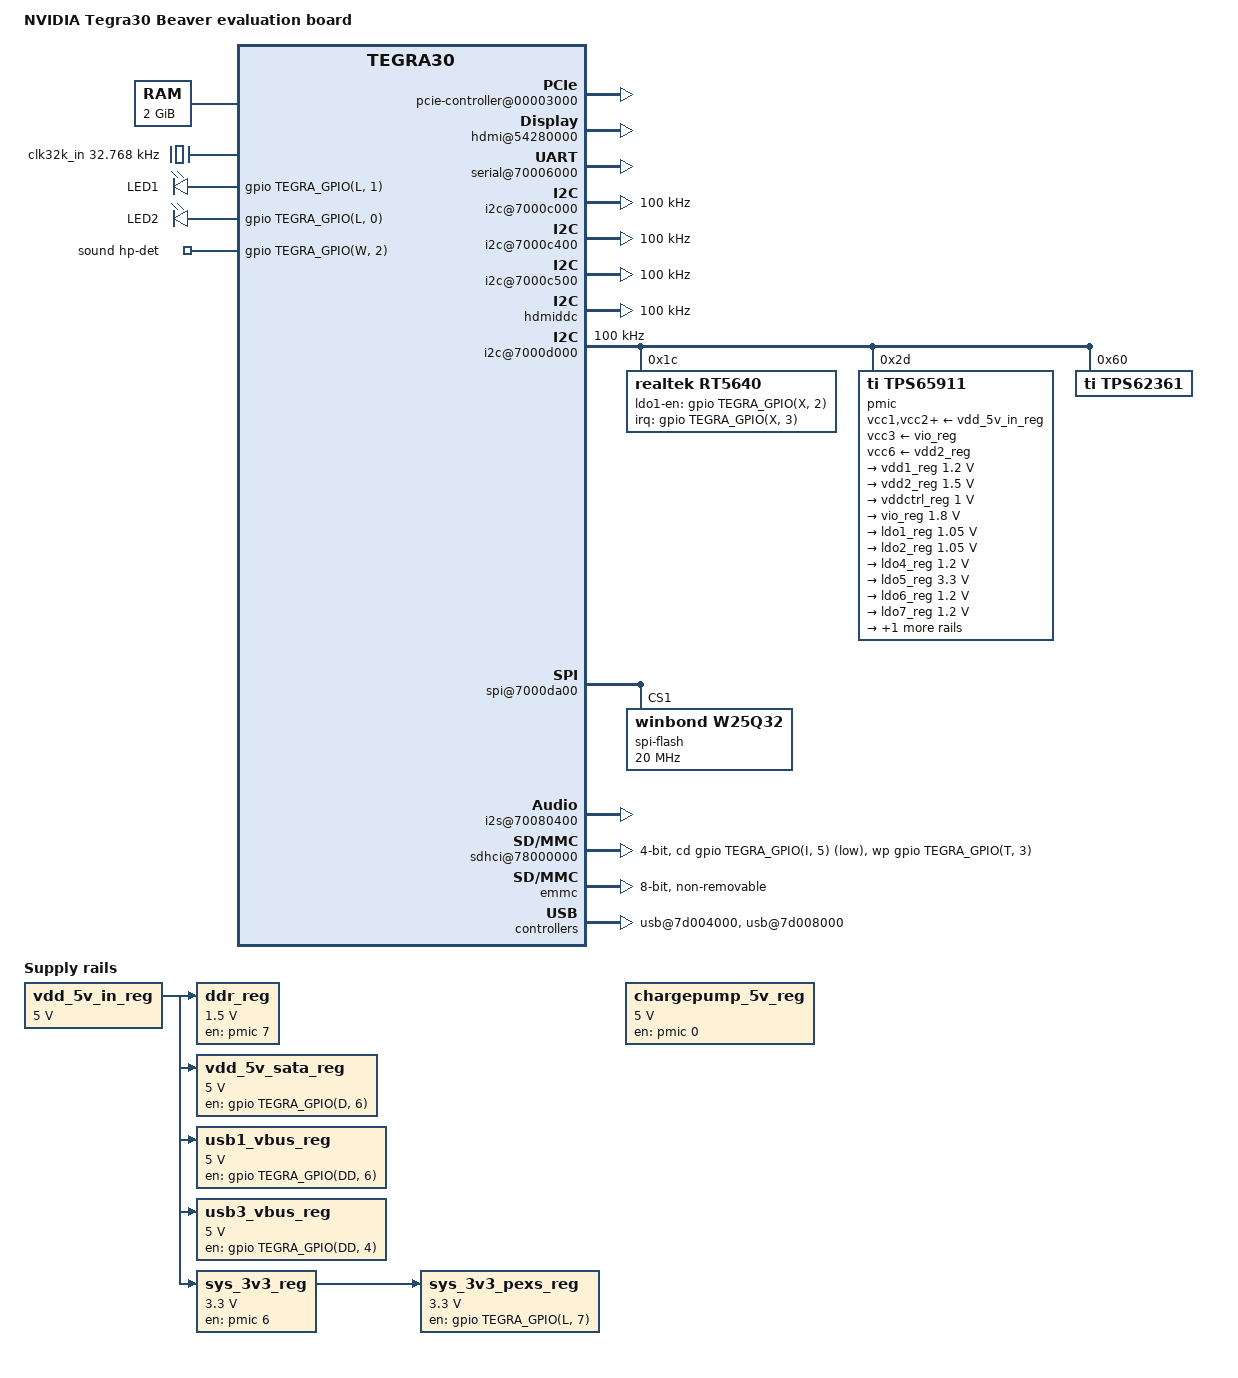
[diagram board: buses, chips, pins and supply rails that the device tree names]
/dts-v1/;

#include <arm/tegra30.dtsi>
#include "tegra30.dtsi"

/ {
	model = "NVIDIA Tegra30 Beaver evaluation board";
	compatible = "nvidia,beaver", "nvidia,tegra30";

	aliases {
		rtc0 = "/i2c@7000d000/tps65911@2d";
		rtc1 = "/rtc@7000e000";
		serial0 = &uarta;
	};

	chosen {
		stdout-path = &uarta;

		environment {
			compatible = "barebox,environment";
			device-path = &emmc, "partname:boot1";
		};
	};

	memory {
		reg = <0x80000000 0x7ff00000>;
	};

	pcie-controller@00003000 {
		status = "okay";
		pex-clk-supply = <&sys_3v3_pexs_reg>;
		vdd-supply = <&ldo1_reg>;
		avdd-supply = <&ldo2_reg>;

		pci@1,0 {
			status = "okay";
			nvidia,num-lanes = <2>;
		};

		pci@2,0 {
			nvidia,num-lanes = <2>;
		};

		pci@3,0 {
			status = "okay";
			nvidia,num-lanes = <2>;
		};
	};

	host1x@50000000 {
		hdmi@54280000 {
			status = "okay";

			vdd-supply = <&sys_3v3_reg>;
			pll-supply = <&vio_reg>;

			nvidia,hpd-gpio =
				<&gpio TEGRA_GPIO(N, 7) GPIO_ACTIVE_HIGH>;
			nvidia,ddc-i2c-bus = <&hdmiddc>;
		};
	};

	pinmux@70000868 {
		pinctrl-names = "default";
		pinctrl-0 = <&state_default>;

		state_default: pinmux {
			sdmmc1_clk_pz0 {
				nvidia,pins = "sdmmc1_clk_pz0";
				nvidia,function = "sdmmc1";
				nvidia,pull = <TEGRA_PIN_PULL_NONE>;
				nvidia,tristate = <TEGRA_PIN_DISABLE>;
			};
			sdmmc1_cmd_pz1 {
				nvidia,pins =	"sdmmc1_cmd_pz1",
						"sdmmc1_dat0_py7",
						"sdmmc1_dat1_py6",
						"sdmmc1_dat2_py5",
						"sdmmc1_dat3_py4";
				nvidia,function = "sdmmc1";
				nvidia,pull = <TEGRA_PIN_PULL_UP>;
				nvidia,tristate = <TEGRA_PIN_DISABLE>;
			};
			sdmmc3_clk_pa6 {
				nvidia,pins = "sdmmc3_clk_pa6";
				nvidia,function = "sdmmc3";
				nvidia,pull = <TEGRA_PIN_PULL_NONE>;
				nvidia,tristate = <TEGRA_PIN_DISABLE>;
			};
			sdmmc3_cmd_pa7 {
				nvidia,pins =	"sdmmc3_cmd_pa7",
						"sdmmc3_dat0_pb7",
						"sdmmc3_dat1_pb6",
						"sdmmc3_dat2_pb5",
						"sdmmc3_dat3_pb4";
				nvidia,function = "sdmmc3";
				nvidia,pull = <TEGRA_PIN_PULL_UP>;
				nvidia,tristate = <TEGRA_PIN_DISABLE>;
			};
			sdmmc3_gpio {
				nvidia,pins =	"sdmmc3_dat4_pd1",
						"sdmmc3_dat5_pd0";
				nvidia,pull = <TEGRA_PIN_PULL_UP>;
				nvidia,tristate = <TEGRA_PIN_DISABLE>;
			};
			sdmmc4_rst {
				nvidia,pins =	"sdmmc4_rst_n_pcc3";
				nvidia,function = "sdmmc4";
				nvidia,pull = <TEGRA_PIN_PULL_DOWN>;
				nvidia,tristate = <TEGRA_PIN_DISABLE>;
				nvidia,io-reset = <TEGRA_PIN_DISABLE>;
				nvidia,enable-input = <TEGRA_PIN_ENABLE>;
			};
			sdmmc4_clk_pcc4 {
				nvidia,pins =	"sdmmc4_clk_pcc4";
				nvidia,function = "sdmmc4";
				nvidia,pull = <TEGRA_PIN_PULL_NONE>;
				nvidia,tristate = <TEGRA_PIN_DISABLE>;
				nvidia,io-reset = <TEGRA_PIN_DISABLE>;
				nvidia,enable-input = <TEGRA_PIN_ENABLE>;
			};
			sdmmc4_dat0_paa0 {
				nvidia,pins =	"sdmmc4_cmd_pt7",
						"sdmmc4_dat0_paa0",
						"sdmmc4_dat1_paa1",
						"sdmmc4_dat2_paa2",
						"sdmmc4_dat3_paa3",
						"sdmmc4_dat4_paa4",
						"sdmmc4_dat5_paa5",
						"sdmmc4_dat6_paa6",
						"sdmmc4_dat7_paa7";
				nvidia,function = "sdmmc4";
				nvidia,pull = <TEGRA_PIN_PULL_UP>;
				nvidia,tristate = <TEGRA_PIN_DISABLE>;
				nvidia,io-reset = <TEGRA_PIN_DISABLE>;
				nvidia,enable-input = <TEGRA_PIN_ENABLE>;
			};
			crt {
				nvidia,pins =	"crt_hsync_pv6",
						"crt_vsync_pv7";
				nvidia,function = "crt";
				nvidia,tristate = <TEGRA_PIN_ENABLE>;
			};
			dap {
				nvidia,pins =	"clk1_req_pee2",
						"clk2_req_pcc5";
				nvidia,function = "dap";
				nvidia,tristate = <TEGRA_PIN_DISABLE>;
			};
			dev3 {
				nvidia,pins =	"clk3_req_pee1";
				nvidia,function = "dev3";
				nvidia,tristate = <TEGRA_PIN_DISABLE>;
			};
			dap1 {
				nvidia,pins =	"dap1_fs_pn0", "dap1_dout_pn2",
						"dap1_din_pn1", "dap1_sclk_pn3";
				nvidia,function = "i2s0";
				nvidia,pull = <TEGRA_PIN_PULL_NONE>;
				nvidia,tristate = <TEGRA_PIN_DISABLE>;
			};
			dap2_fs_pa2 {
				nvidia,pins =	"dap2_fs_pa2",
						"dap2_sclk_pa3",
						"dap2_din_pa4",
						"dap2_dout_pa5";
				nvidia,function = "i2s1";
				nvidia,pull = <TEGRA_PIN_PULL_NONE>;
				nvidia,tristate = <TEGRA_PIN_DISABLE>;
			};
			dap3 {
				nvidia,pins =	"dap3_fs_pp0", "dap3_dout_pp2",
						"dap3_din_pp1", "dap3_sclk_pp3";
				nvidia,function = "i2s2";
				nvidia,tristate = <TEGRA_PIN_DISABLE>;
			};
			dap4 {
				nvidia,pins =	"dap4_fs_pp4", "dap4_dout_pp6",
						"dap4_din_pp5", "dap4_sclk_pp7";
				nvidia,function = "i2s3";
				nvidia,tristate = <TEGRA_PIN_DISABLE>;
			};
			pex_in {
				nvidia,pins =	"pex_l0_prsnt_n_pdd0",
						"pex_l0_clkreq_n_pdd2",
						"pex_l2_prsnt_n_pdd7",
						"pex_l2_clkreq_n_pcc7",
						"pex_wake_n_pdd3";
				nvidia,function = "pcie";
				nvidia,tristate = <TEGRA_PIN_DISABLE>;
				nvidia,enable-input = <TEGRA_PIN_ENABLE>;
			};
			pex_out {
				nvidia,pins =	"pex_l0_rst_n_pdd1",
						"pex_l1_rst_n_pdd5",
						"pex_l2_rst_n_pcc6";
				nvidia,function = "pcie";
				nvidia,tristate = <TEGRA_PIN_DISABLE>;
			};
			pex_l1_prsnt_n_pdd4 {
				nvidia,pins =	"pex_l1_prsnt_n_pdd4",
						"pex_l1_clkreq_n_pdd6";
				nvidia,pull = <TEGRA_PIN_PULL_UP>;
			};
			sdio1 {
				nvidia,pins = "drive_sdio1";
				nvidia,high-speed-mode = <TEGRA_PIN_DISABLE>;
				nvidia,schmitt = <TEGRA_PIN_DISABLE>;
				nvidia,pull-down-strength = <46>;
				nvidia,pull-up-strength = <42>;
				nvidia,slew-rate-rising = <1>;
				nvidia,slew-rate-falling = <1>;
			};
			sdio3 {
				nvidia,pins = "drive_sdio3";
				nvidia,high-speed-mode = <TEGRA_PIN_DISABLE>;
				nvidia,schmitt = <TEGRA_PIN_DISABLE>;
				nvidia,pull-down-strength = <46>;
				nvidia,pull-up-strength = <42>;
				nvidia,slew-rate-rising = <1>;
				nvidia,slew-rate-falling = <1>;
			};
			gpv {
				nvidia,pins = "drive_gpv";
				nvidia,pull-up-strength = <16>;
			};
			uarta {
				nvidia,pins =	"ulpi_data0_po1",
						"ulpi_data1_po2",
						"ulpi_data2_po3",
						"ulpi_data3_po4",
						"ulpi_data4_po5",
						"ulpi_data5_po6",
						"ulpi_data6_po7",
						"ulpi_data7_po0";
				nvidia,function = "uarta";
				nvidia,tristate = <0>;
			};
			pu {
				nvidia,pins =	"pu0", "pu1", "pu2", "pu3",
						"pu4", "pu5", "pu6";
				nvidia,function = "rsvd4";
				nvidia,tristate = <TEGRA_PIN_ENABLE>;
			};
			uartb {
				nvidia,pins =	"uart2_txd_pc2",
						"uart2_rxd_pc3",
						"uart2_cts_n_pj5",
						"uart2_rts_n_pj6";
				nvidia,function = "uartb";
				nvidia,tristate = <TEGRA_PIN_DISABLE>;
			};
			uartc {
				nvidia,pins =	"uart3_txd_pw6",
						"uart3_rxd_pw7",
						"uart3_cts_n_pa1",
						"uart3_rts_n_pc0";
				nvidia,function = "uartc";
				nvidia,tristate = <TEGRA_PIN_DISABLE>;
			};
			uartd {
				nvidia,pins =	"ulpi_clk_py0", "ulpi_dir_py1",
						"ulpi_nxt_py2", "ulpi_stp_py3";
				nvidia,function = "uartd";
				nvidia,tristate = <TEGRA_PIN_DISABLE>;
			};
			i2c1 {
				nvidia,pins =	"gen1_i2c_scl_pc4",
						"gen1_i2c_sda_pc5";
				nvidia,function = "i2c1";
				nvidia,tristate = <TEGRA_PIN_DISABLE>;
				nvidia,enable-input = <TEGRA_PIN_ENABLE>;
				nvidia,open-drain = <TEGRA_PIN_ENABLE>;
			};
			i2c2 {
				nvidia,pins =	"gen2_i2c_scl_pt5",
						"gen2_i2c_sda_pt6";
				nvidia,function = "i2c2";
				nvidia,tristate = <TEGRA_PIN_DISABLE>;
				nvidia,enable-input = <TEGRA_PIN_ENABLE>;
				nvidia,open-drain = <TEGRA_PIN_ENABLE>;
			};
			i2c3 {
				nvidia,pins =	"cam_i2c_scl_pbb1",
						"cam_i2c_sda_pbb2";
				nvidia,function = "i2c3";
				nvidia,tristate = <TEGRA_PIN_DISABLE>;
				nvidia,enable-input = <TEGRA_PIN_ENABLE>;
				nvidia,open-drain = <TEGRA_PIN_ENABLE>;
			};
			i2c4 {
				nvidia,pins =	"ddc_scl_pv4",
						"ddc_sda_pv5";
				nvidia,function = "i2c4";
				nvidia,tristate = <TEGRA_PIN_DISABLE>;
				nvidia,enable-input = <TEGRA_PIN_ENABLE>;
				nvidia,open-drain = <TEGRA_PIN_ENABLE>;
			};
			i2cpwr {
				nvidia,pins =	"pwr_i2c_scl_pz6",
						"pwr_i2c_sda_pz7";
				nvidia,function = "i2cpwr";
				nvidia,tristate = <TEGRA_PIN_DISABLE>;
				nvidia,enable-input = <TEGRA_PIN_ENABLE>;
				nvidia,open-drain = <TEGRA_PIN_ENABLE>;
			};
			spi1 {
				nvidia,pins =	"spi1_mosi_px4",
						"spi1_sck_px5",
						"spi1_cs0_n_px6",
						"spi1_miso_px7";
				nvidia,function = "spi1";
				nvidia,tristate = <TEGRA_PIN_DISABLE>;
				nvidia,enable-input = <TEGRA_PIN_ENABLE>;
			};
			spi2_up {
				nvidia,pins =	"spi2_cs1_n_pw2";
				nvidia,tristate = <TEGRA_PIN_DISABLE>;
				nvidia,pull = <TEGRA_PIN_PULL_UP>;
			};
			spi4 {
				nvidia,pins =	"gmi_a16_pj7", "gmi_a17_pb0",
						"gmi_a18_pb1", "gmi_a19_pk7";
				nvidia,function = "spi4";
				nvidia,tristate = <TEGRA_PIN_DISABLE>;
				nvidia,enable-input = <TEGRA_PIN_ENABLE>;
			};
			spdif {
				nvidia,pins =	"spdif_out_pk5", "spdif_in_pk6";
				nvidia,function = "spdif";
				nvidia,tristate = <TEGRA_PIN_DISABLE>;
			};
			hdmi_int {
				nvidia,pins =	"hdmi_int_pn7";
				nvidia,function = "hdmi";
				nvidia,tristate = <TEGRA_PIN_DISABLE>;
			};
			hdmi_cec {
				nvidia,pins =	"hdmi_cec_pee3";
				nvidia,function = "cec";
				nvidia,tristate = <TEGRA_PIN_DISABLE>;
			};
			ddr {
				nvidia,pins =	"vi_d10_pt2", "vi_vsync_pd6",
						"vi_hsync_pd7";
				nvidia,function = "ddr";
				nvidia,tristate = <TEGRA_PIN_DISABLE>;
				nvidia,io-reset = <TEGRA_PIN_DISABLE>;
			};
			ddr_up {
				nvidia,pins =	"vi_d11_pt3";
				nvidia,function = "ddr";
				nvidia,tristate = <TEGRA_PIN_DISABLE>;
				nvidia,pull = <TEGRA_PIN_PULL_UP>;
				nvidia,enable-input = <TEGRA_PIN_ENABLE>;
			};
			vi {
				nvidia,pins =	"vi_d4_pl2", "vi_mclk_pt1",
						"vi_d6_pl4";
				nvidia,function = "vi";
				nvidia,tristate = <TEGRA_PIN_DISABLE>;
			};
			owr {
				nvidia,pins =	"pv2", "pu0", "owr";
				nvidia,function = "owr";
				nvidia,tristate = <TEGRA_PIN_DISABLE>;
			};
			lcd {
				nvidia,pins =	"lcd_pwr1_pc1", "lcd_pwr2_pc6",
						"lcd_sdin_pz2", "lcd_sdout_pn5",
						"lcd_wr_n_pz3", "lcd_cs0_n_pn4",
						"lcd_dc0_pn6", "lcd_sck_pz4",
						"lcd_pwr0_pb2", "lcd_pclk_pb3",
						"lcd_de_pj1", "lcd_hsync_pj3",
						"lcd_vsync_pj4", "lcd_d0_pe0",
						"lcd_d1_pe1", "lcd_d2_pe2",
						"lcd_d3_pe3", "lcd_d4_pe4",
						"lcd_d5_pe5", "lcd_d6_pe6",
						"lcd_d7_pe7", "lcd_d8_pf0",
						"lcd_d9_pf1", "lcd_d10_pf2",
						"lcd_d11_pf3", "lcd_d12_pf4",
						"lcd_d13_pf5", "lcd_d14_pf6",
						"lcd_d15_pf7", "lcd_d16_pm0",
						"lcd_d17_pm1", "lcd_d18_pm2",
						"lcd_d19_pm3", "lcd_d20_pm4",
						"lcd_d21_pm5", "lcd_d22_pm6",
						"lcd_d23_pm7", "lcd_cs1_n_pw0",
						"lcd_m1_pw1", "lcd_dc1_pd2";
				nvidia,function = "displaya";
				nvidia,tristate = <TEGRA_PIN_DISABLE>;
				nvidia,enable-input = <TEGRA_PIN_ENABLE>;
			};
			kbc {
				nvidia,pins =	"kb_row0_pr0", "kb_row1_pr1",
						"kb_row2_pr2", "kb_row3_pr3",
						"kb_row4_pr4", "kb_row5_pr5",
						"kb_row6_pr6", "kb_row7_pr7",
						"kb_row9_ps1", "kb_row8_ps0",
						"kb_row10_ps2", "kb_row11_ps3",
						"kb_row12_ps4", "kb_row13_ps5",
						"kb_row14_ps6", "kb_row15_ps7",
						"kb_col0_pq0", "kb_col1_pq1",
						"kb_col2_pq2", "kb_col3_pq3",
						"kb_col4_pq4", "kb_col5_pq5",
						"kb_col6_pq6", "kb_col7_pq7";
				nvidia,function = "kbc";
				nvidia,pull = <TEGRA_PIN_PULL_UP>;
				nvidia,tristate = <TEGRA_PIN_DISABLE>;
				nvidia,enable-input = <TEGRA_PIN_ENABLE>;
			};
			gpio_vi {
				nvidia,pins =	"vi_d1_pd5", "vi_d2_pl0",
						"vi_d3_pl1", "vi_d5_pl3",
						"vi_d7_pl5", "vi_d8_pl6",
						"vi_d9_pl7";
				nvidia,function = "sdmmc2";
				nvidia,tristate = <TEGRA_PIN_DISABLE>;
				nvidia,io-reset = <TEGRA_PIN_DISABLE>;
				nvidia,enable-input = <TEGRA_PIN_ENABLE>;
			};
			gpio_pbb0 {
				nvidia,pins =	"pbb0", "pbb7", "pcc1", "pcc2";
				nvidia,function = "i2s4";
				nvidia,tristate = <TEGRA_PIN_DISABLE>;
				nvidia,enable-input = <TEGRA_PIN_ENABLE>;
			};
			gpio_pbb3 {
				nvidia,pins =	"pbb3";
				nvidia,function = "vgp3";
				nvidia,tristate = <TEGRA_PIN_DISABLE>;
				nvidia,enable-input = <TEGRA_PIN_ENABLE>;
			};
			gpio_pbb4 {
				nvidia,pins =	"pbb4";
				nvidia,function = "vgp4";
				nvidia,tristate = <TEGRA_PIN_DISABLE>;
				nvidia,enable-input = <TEGRA_PIN_ENABLE>;
			};
			gpio_pbb5 {
				nvidia,pins =	"pbb5";
				nvidia,function = "vgp5";
				nvidia,tristate = <TEGRA_PIN_DISABLE>;
				nvidia,enable-input = <TEGRA_PIN_ENABLE>;
			};
			gpio_pbb6 {
				nvidia,pins =	"pbb6";
				nvidia,function = "vgp6";
				nvidia,tristate = <TEGRA_PIN_DISABLE>;
				nvidia,enable-input = <TEGRA_PIN_ENABLE>;
			};
			gpio_pu1 {
				nvidia,pins =	"pu1", "pu2";
				nvidia,function = "rsvd1";
				nvidia,tristate = <TEGRA_PIN_DISABLE>;
			};
			gpio_pv0 {
				nvidia,pins =	"pv0", "gmi_cs2_n_pk3";
				nvidia,function = "rsvd1";
				nvidia,tristate = <TEGRA_PIN_DISABLE>;
				nvidia,pull = <TEGRA_PIN_PULL_UP>;
			};
			gpio_pv3 {
				nvidia,pins =	"pv3";
				nvidia,function = "clk_12m_out";
				nvidia,tristate = <TEGRA_PIN_DISABLE>;
			};
			gpio_gmi {
				nvidia,pins =	"spi2_sck_px2", "gmi_wp_n_pc7";
				nvidia,function = "gmi";
				nvidia,tristate = <TEGRA_PIN_DISABLE>;
			};
			gpio_gmi_ad {
				nvidia,pins =	"gmi_ad10_ph2", "gmi_ad14_ph6";
				nvidia,function = "nand";
				nvidia,tristate = <TEGRA_PIN_DISABLE>;
			};
			gpio_gmi_ad_up {
				nvidia,pins =	"gmi_ad12_ph4";
				nvidia,function = "nand";
				nvidia,tristate = <TEGRA_PIN_DISABLE>;
				nvidia,pull = <TEGRA_PIN_PULL_UP>;
			};
			gpio_gmi_iordy_up {
				nvidia,pins =	"gmi_iordy_pi5";
				nvidia,function = "rsvd1";
				nvidia,tristate = <TEGRA_PIN_DISABLE>;
				nvidia,pull = <TEGRA_PIN_PULL_UP>;
			};
			pwm0 {
				nvidia,pins =	"gmi_ad8_ph0", "pu3";
				nvidia,function = "pwm0";
				nvidia,tristate = <TEGRA_PIN_DISABLE>;
			};
			pwm1 {
				nvidia,pins =	"pu4";
				nvidia,function = "pwm1";
				nvidia,tristate = <TEGRA_PIN_DISABLE>;
			};
			pwm2 {
				nvidia,pins =	"pu5";
				nvidia,function = "pwm2";
				nvidia,tristate = <TEGRA_PIN_DISABLE>;
			};
			pwm3 {
				nvidia,pins =	"pu6";
				nvidia,function = "pwm3";
				nvidia,tristate = <TEGRA_PIN_DISABLE>;
			};
			extperiph1 {
				nvidia,pins =	"clk1_out_pw4";
				nvidia,function = "extperiph1";
				nvidia,tristate = <TEGRA_PIN_DISABLE>;
			};
			extperiph2 {
				nvidia,pins =	"clk2_out_pw5";
				nvidia,function = "extperiph2";
				nvidia,tristate = <TEGRA_PIN_DISABLE>;
			};
			extperiph3 {
				nvidia,pins =	"clk3_out_pee0";
				nvidia,function = "extperiph3";
				nvidia,tristate = <TEGRA_PIN_DISABLE>;
			};
			jtag {
				nvidia,pins =	"jtag_rtck_pu7";
				nvidia,function = "rtck";
				nvidia,tristate = <TEGRA_PIN_DISABLE>;
			};
			blink {
				nvidia,pins =	"clk_32k_out_pa0";
				nvidia,function = "blink";
				nvidia,tristate = <TEGRA_PIN_DISABLE>;
			};
			sysclk {
				nvidia,pins =	"sys_clk_req_pz5";
				nvidia,function = "sysclk";
				nvidia,tristate = <TEGRA_PIN_DISABLE>;
			};
			cam_mclk {
				nvidia,pins =	"cam_mclk_pcc0";
				nvidia,function = "vi_alt3";
				nvidia,tristate = <TEGRA_PIN_DISABLE>;
				nvidia,pull = <TEGRA_PIN_PULL_UP>;
			};
			vi_pclk {
				nvidia,pins =	"vi_pclk_pt0";
				nvidia,function = "rsvd1";
				nvidia,tristate = <TEGRA_PIN_ENABLE>;
				nvidia,io-reset = <TEGRA_PIN_DISABLE>;
			};
			unused {
				nvidia,pins =	"gmi_adv_n_pk0", "gmi_clk_pk1",
						"gmi_cs3_n_pk4", "gmi_ad0_pg0",
						"gmi_ad1_pg1", "gmi_ad2_pg2",
						"gmi_ad3_pg3", "gmi_ad4_pg4",
						"gmi_ad5_pg5", "gmi_ad6_pg6",
						"gmi_ad7_pg7", "gmi_ad9_ph1",
						"gmi_ad11_ph3", "gmi_wr_n_pi0",
						"gmi_oe_n_pi1", "gmi_dqs_pi2";
				nvidia,function = "nand";
				nvidia,tristate = <TEGRA_PIN_ENABLE>;
			};
			unused_pu {
				nvidia,pins =	"gmi_wait_pi7", "gmi_cs7_n_pi6",
						"gmi_ad13_ph5";
				nvidia,function = "nand";
				nvidia,pull = <TEGRA_PIN_PULL_UP>;
				nvidia,tristate = <TEGRA_PIN_ENABLE>;
			};
		};
	};

	serial@70006000 {
		status = "okay";
	};

	i2c@7000c000 {
		status = "okay";
		clock-frequency = <100000>;
	};

	i2c@7000c400 {
		status = "okay";
		clock-frequency = <100000>;
	};

	i2c@7000c500 {
		status = "okay";
		clock-frequency = <100000>;
	};

	hdmiddc: i2c@7000c700 {
		status = "okay";
		clock-frequency = <100000>;
	};

	i2c@7000d000 {
		status = "okay";
		clock-frequency = <100000>;

		rt5640: rt5640@1c {
			compatible = "realtek,rt5640";
			reg = <0x1c>;
			interrupt-parent = <&gpio>;
			interrupts = <TEGRA_GPIO(X, 3) GPIO_ACTIVE_HIGH>;
			realtek,ldo1-en-gpios =
				<&gpio TEGRA_GPIO(X, 2) GPIO_ACTIVE_HIGH>;
		};

		pmic: tps65911@2d {
			compatible = "ti,tps65911";
			reg = <0x2d>;

			interrupts = <GIC_SPI 86 IRQ_TYPE_LEVEL_HIGH>;
			#interrupt-cells = <2>;
			interrupt-controller;

			ti,system-power-controller;

			#gpio-cells = <2>;
			gpio-controller;

			vcc1-supply = <&vdd_5v_in_reg>;
			vcc2-supply = <&vdd_5v_in_reg>;
			vcc3-supply = <&vio_reg>;
			vcc4-supply = <&vdd_5v_in_reg>;
			vcc5-supply = <&vdd_5v_in_reg>;
			vcc6-supply = <&vdd2_reg>;
			vcc7-supply = <&vdd_5v_in_reg>;
			vccio-supply = <&vdd_5v_in_reg>;

			regulators {
				#address-cells = <1>;
				#size-cells = <0>;

				vdd1_reg: vdd1 {
					regulator-name = "vddio_ddr_1v2";
					regulator-min-microvolt = <1200000>;
					regulator-max-microvolt = <1200000>;
					regulator-always-on;
				};

				vdd2_reg: vdd2 {
					regulator-name = "vdd_1v5_gen";
					regulator-min-microvolt = <1500000>;
					regulator-max-microvolt = <1500000>;
					regulator-always-on;
				};

				vddctrl_reg: vddctrl {
					regulator-name = "vdd_cpu,vdd_sys";
					regulator-min-microvolt = <1000000>;
					regulator-max-microvolt = <1000000>;
					regulator-always-on;
				};

				vio_reg: vio {
					regulator-name = "vdd_1v8_gen";
					regulator-min-microvolt = <1800000>;
					regulator-max-microvolt = <1800000>;
					regulator-always-on;
				};

				ldo1_reg: ldo1 {
					regulator-name = "vdd_pexa,vdd_pexb";
					regulator-min-microvolt = <1050000>;
					regulator-max-microvolt = <1050000>;
				};

				ldo2_reg: ldo2 {
					regulator-name = "vdd_sata,avdd_plle";
					regulator-min-microvolt = <1050000>;
					regulator-max-microvolt = <1050000>;
				};

				/* LDO3 is not connected to anything */

				ldo4_reg: ldo4 {
					regulator-name = "vdd_rtc";
					regulator-min-microvolt = <1200000>;
					regulator-max-microvolt = <1200000>;
					regulator-always-on;
				};

				ldo5_reg: ldo5 {
					regulator-name = "vddio_sdmmc,avdd_vdac";
					regulator-min-microvolt = <3300000>;
					regulator-max-microvolt = <3300000>;
					regulator-always-on;
				};

				ldo6_reg: ldo6 {
					regulator-name = "avdd_dsi_csi,pwrdet_mipi";
					regulator-min-microvolt = <1200000>;
					regulator-max-microvolt = <1200000>;
				};

				ldo7_reg: ldo7 {
					regulator-name = "vdd_pllm,x,u,a_p_c_s";
					regulator-min-microvolt = <1200000>;
					regulator-max-microvolt = <1200000>;
					regulator-always-on;
				};

				ldo8_reg: ldo8 {
					regulator-name = "vdd_ddr_hs";
					regulator-min-microvolt = <1000000>;
					regulator-max-microvolt = <1000000>;
					regulator-always-on;
				};
			};
		};

		tps62361@60 {
			compatible = "ti,tps62361";
			reg = <0x60>;

			regulator-name = "tps62361-vout";
			regulator-min-microvolt = <500000>;
			regulator-max-microvolt = <1500000>;
			regulator-boot-on;
			regulator-always-on;
			ti,vsel0-state-high;
			ti,vsel1-state-high;
		};
	};

	spi@7000da00 {
		status = "okay";
		spi-max-frequency = <25000000>;
		spi-flash@1 {
			compatible = "winbond,w25q32";
			reg = <1>;
			spi-max-frequency = <20000000>;
		};
	};

	pmc@7000e400 {
		status = "okay";
		nvidia,invert-interrupt;
		nvidia,suspend-mode = <1>;
		nvidia,cpu-pwr-good-time = <2000>;
		nvidia,cpu-pwr-off-time = <200>;
		nvidia,core-pwr-good-time = <3845 3845>;
		nvidia,core-pwr-off-time = <0>;
		nvidia,core-power-req-active-high;
		nvidia,sys-clock-req-active-high;
	};

	ahub@70080000 {
		i2s@70080400 {
			status = "okay";
		};
	};

	sdhci@78000000 {
		status = "okay";
		cd-gpios = <&gpio TEGRA_GPIO(I, 5) GPIO_ACTIVE_LOW>;
		wp-gpios = <&gpio TEGRA_GPIO(T, 3) GPIO_ACTIVE_HIGH>;
		power-gpios = <&gpio TEGRA_GPIO(D, 7) GPIO_ACTIVE_HIGH>;
		bus-width = <4>;
	};

	emmc: sdhci@78000600 {
		status = "okay";
		bus-width = <8>;
		non-removable;
	};

	usb@7d004000 {
		status = "okay";
	};

	phy2: usb-phy@7d004000 {
		vbus-supply = <&sys_3v3_reg>;
		status = "okay";
	};

	usb@7d008000 {
		status = "okay";
	};

	usb-phy@7d008000 {
		vbus-supply = <&usb3_vbus_reg>;
		status = "okay";
	};

	clocks {
		compatible = "simple-bus";
		#address-cells = <1>;
		#size-cells = <0>;

		clk32k_in: clock@0 {
			compatible = "fixed-clock";
			reg=<0>;
			#clock-cells = <0>;
			clock-frequency = <32768>;
		};
	};

	gpio-leds {
		compatible = "gpio-leds";

		gpled1 {
			label = "LED1"; /* CR5A1 (blue) */
			gpios = <&gpio TEGRA_GPIO(L, 1) GPIO_ACTIVE_HIGH>;
		};
		gpled2 {
			label = "LED2"; /* CR4A2 (green) */
			gpios = <&gpio TEGRA_GPIO(L, 0) GPIO_ACTIVE_HIGH>;
		};
	};

	regulators {
		compatible = "simple-bus";
		#address-cells = <1>;
		#size-cells = <0>;

		vdd_5v_in_reg: regulator@0 {
			compatible = "regulator-fixed";
			reg = <0>;
			regulator-name = "vdd_5v_in";
			regulator-min-microvolt = <5000000>;
			regulator-max-microvolt = <5000000>;
			regulator-always-on;
		};

		chargepump_5v_reg: regulator@1 {
			compatible = "regulator-fixed";
			reg = <1>;
			regulator-name = "chargepump_5v";
			regulator-min-microvolt = <5000000>;
			regulator-max-microvolt = <5000000>;
			regulator-boot-on;
			regulator-always-on;
			enable-active-high;
			gpio = <&pmic 0 GPIO_ACTIVE_HIGH>;
		};

		ddr_reg: regulator@2 {
			compatible = "regulator-fixed";
			reg = <2>;
			regulator-name = "vdd_ddr";
			regulator-min-microvolt = <1500000>;
			regulator-max-microvolt = <1500000>;
			regulator-always-on;
			regulator-boot-on;
			enable-active-high;
			gpio = <&pmic 7 GPIO_ACTIVE_HIGH>;
			vin-supply = <&vdd_5v_in_reg>;
		};

		vdd_5v_sata_reg: regulator@3 {
			compatible = "regulator-fixed";
			reg = <3>;
			regulator-name = "vdd_5v_sata";
			regulator-min-microvolt = <5000000>;
			regulator-max-microvolt = <5000000>;
			regulator-always-on;
			regulator-boot-on;
			enable-active-high;
			gpio = <&gpio TEGRA_GPIO(D, 6) GPIO_ACTIVE_HIGH>;
			vin-supply = <&vdd_5v_in_reg>;
		};

		usb1_vbus_reg: regulator@4 {
			compatible = "regulator-fixed";
			reg = <4>;
			regulator-name = "usb1_vbus";
			regulator-min-microvolt = <5000000>;
			regulator-max-microvolt = <5000000>;
			enable-active-high;
			gpio = <&gpio TEGRA_GPIO(DD, 6) GPIO_ACTIVE_HIGH>;
			gpio-open-drain;
			vin-supply = <&vdd_5v_in_reg>;
		};

		usb3_vbus_reg: regulator@5 {
			compatible = "regulator-fixed";
			reg = <5>;
			regulator-name = "usb3_vbus";
			regulator-min-microvolt = <5000000>;
			regulator-max-microvolt = <5000000>;
			enable-active-high;
			gpio = <&gpio TEGRA_GPIO(DD, 4) GPIO_ACTIVE_HIGH>;
			gpio-open-drain;
			vin-supply = <&vdd_5v_in_reg>;
		};

		sys_3v3_reg: regulator@6 {
			compatible = "regulator-fixed";
			reg = <6>;
			regulator-name = "sys_3v3,vdd_3v3_alw";
			regulator-min-microvolt = <3300000>;
			regulator-max-microvolt = <3300000>;
			regulator-always-on;
			regulator-boot-on;
			enable-active-high;
			gpio = <&pmic 6 GPIO_ACTIVE_HIGH>;
			vin-supply = <&vdd_5v_in_reg>;
		};

		sys_3v3_pexs_reg: regulator@7 {
			compatible = "regulator-fixed";
			reg = <7>;
			regulator-name = "sys_3v3_pexs";
			regulator-min-microvolt = <3300000>;
			regulator-max-microvolt = <3300000>;
			regulator-always-on;
			regulator-boot-on;
			enable-active-high;
			gpio = <&gpio TEGRA_GPIO(L, 7) GPIO_ACTIVE_HIGH>;
			vin-supply = <&sys_3v3_reg>;
		};
	};

	sound {
		compatible = "nvidia,tegra-audio-rt5640-beaver",
			     "nvidia,tegra-audio-rt5640";
		nvidia,model = "NVIDIA Tegra Beaver";

		nvidia,audio-routing =
			"Headphones", "HPOR",
			"Headphones", "HPOL",
			"Mic Jack", "MICBIAS1",
			"IN2P", "Mic Jack";

		nvidia,i2s-controller = <&tegra_i2s1>;
		nvidia,audio-codec = <&rt5640>;

		nvidia,hp-det-gpios = <&gpio TEGRA_GPIO(W, 2) GPIO_ACTIVE_HIGH>;

		clocks = <&tegra_car TEGRA30_CLK_PLL_A>,
			 <&tegra_car TEGRA30_CLK_PLL_A_OUT0>,
			 <&tegra_car TEGRA30_CLK_EXTERN1>;
		clock-names = "pll_a", "pll_a_out0", "mclk";
	};
};
